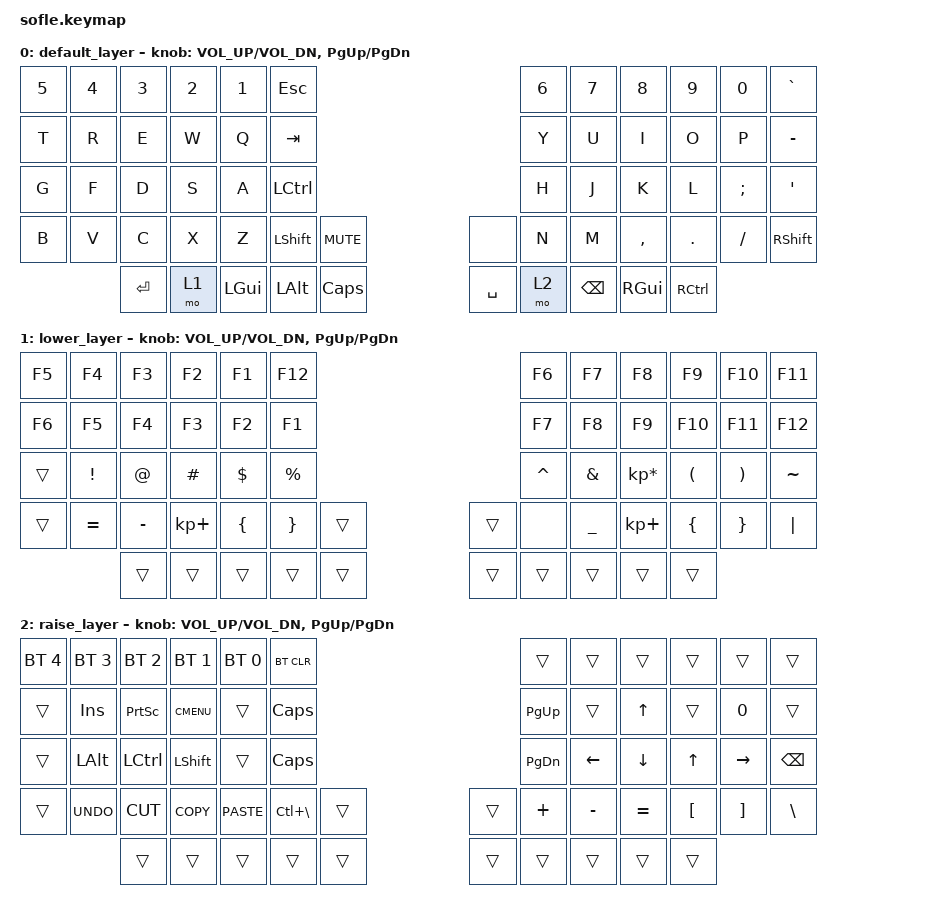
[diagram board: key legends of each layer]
/*
 * Copyright (c) 2020 The ZMK Contributors
 *
 * SPDX-License-Identifier: MIT
 */

#include <behaviors.dtsi>
#include <dt-bindings/zmk/keys.h>
#include <dt-bindings/zmk/bt.h>

/ {
    keymap {
        compatible = "zmk,keymap";

        default_layer {
// ------------------------------------------------------------------------------------------------------------
// |  `    |  1  |  2  |  3   |  4   |  5   |                   |  6   |  7    |  8    |  9   |   0   |       |
// |  ESC  |  Q  |  W  |  E   |  R   |  T   |                   |  Y   |  U    |  I    |  O   |   P   | BKSPC |
// |  TAB  |  A  |  S  |  D   |  F   |  G   |                   |  H   |  J    |  K    |  L   |   ;   |   '   |
// | SHIFT |  Z  |  X  |  C   |  V   |  B   |  MUTE  |  |       |  N   |  M    |  ,    |  .   |   /   | SHIFT |
//               | GUI | ALT  | CTRL | LOWER|  ENTER |  | SPACE | RAISE| CTRL  | ALT   | GUI  |
            bindings = <
&kp N5    &kp N4 &kp N3    &kp N2   &kp N1    &kp ESC                                           &kp N6 &kp N7    &kp N8    &kp N9   &kp N0   &kp GRAVE
&kp T     &kp R  &kp E     &kp W    &kp Q     &kp TAB                                           &kp Y  &kp U     &kp I     &kp O    &kp P    &kp MINUS
&kp G     &kp F  &kp D     &kp S    &kp A     &kp LCTRL                                         &kp H  &kp J     &kp K     &kp L    &kp SEMI &kp SQT
&kp B     &kp V  &kp C     &kp X    &kp Z     &kp LSHFT  &kp C_MUTE                 &none       &kp N  &kp M     &kp COMMA &kp DOT  &kp FSLH &kp RSHFT
                 &kp RET   &mo 1    &kp LGUI  &kp LALT   &kp CAPS                   &kp SPACE   &mo 2  &kp BSPC  &kp RGUI  &kp RCTRL
            >;

            sensor-bindings = <&inc_dec_kp C_VOL_UP C_VOL_DN &inc_dec_kp PG_UP PG_DN>;
        };

        lower_layer {
// TODO: Some binds are waiting for shifted keycode support.
// ------------------------------------------------------------------------------------------------------------
// |       |  F1 |  F2 |  F3  |  F4  |  F5  |                   |  F6  |  F7   |  F8   |  F9  |  F10  |  F11  |
// | `     |   1 |   2 |   3  |   4  |   5  |                   |   6  |   7   |   8   |   9  |    0  |  F12  |
// |       |  !  |  @  |  #   |  $   |  %   |                   |  ^   |  &    |  *    |  (   |   )   |   |   |
// |       |  =  |  -  |  +   |  {   |  }   |        |  |       |  [   |  ]    |  ;    |  :   |   \   |       |
//               |     |      |      |      |        |  |       |      |       |       |      |
            bindings = <
&kp F5    &kp F4    &kp F3    &kp F2      &kp F1    &kp F12                           &kp F6    &kp F7    &kp F8          &kp F9    &kp F10   &kp F11
&kp F6    &kp F5    &kp F4    &kp F3      &kp F2    &kp F1                            &kp F7    &kp F8    &kp F9          &kp F10   &kp F11   &kp F12
&trans    &kp EXCL  &kp AT    &kp HASH    &kp DLLR  &kp PRCNT                         &kp CARET &kp AMPS  &kp KP_MULTIPLY &kp LPAR  &kp RPAR  &kp TILDE
&trans    &kp EQUAL &kp MINUS &kp KP_PLUS &kp LBRC  &kp RBRC  &trans           &trans &none     &kp UNDER &kp KP_PLUS     &kp LBRC  &kp RBRC  &kp PIPE
                    &trans    &trans      &trans    &trans    &trans           &trans &trans    &trans    &trans          &trans
            >;

            sensor-bindings = <&inc_dec_kp C_VOL_UP C_VOL_DN &inc_dec_kp PG_UP PG_DN>;
        };

        raise_layer {
// ------------------------------------------------------------------------------------------------------------
// |BTCLR| BT1  | BT2  |  BT3  |  BT4  |  BT5 |                |      |      |       |      |       |       |
// |     | INS  | PSCR | GUI   |       |      |                | PGUP |      |   ^   |      |       |       |
// |     | ALT  | CTRL | SHIFT |       | CAPS |                | PGDN |   <- |   v   |  ->  |  DEL  | BKSPC |
// |     | UNDO | CUT  | COPY  | PASTE |      |      |  |      |      |      |       |      |       |       |
//              |      |       |       |      |      |  |      |      |      |       |      |
            bindings = <
&bt BT_SEL 4 &bt BT_SEL 3 &bt BT_SEL 2 &bt BT_SEL 1 &bt BT_SEL 0 &bt BT_CLR                       &trans      &trans    &trans         &trans      &trans    &trans
&trans     &kp INS      &kp PSCRN    &kp K_CMENU  &trans       &kp CAPS                           &kp PG_UP   &trans    &kp UP         &trans      &kp N0    &trans
&trans     &kp LALT     &kp LCTRL    &kp LSHFT    &trans       &kp CAPS                           &kp PG_DN   &kp LEFT  &kp DOWN       &kp UP      &kp RIGHT &kp BSPC
&trans     &kp K_UNDO   &kp K_CUT    &kp K_COPY   &kp K_PASTE  &kp LC(BSLH)  &trans       &trans  &kp PLUS    &kp MINUS &kp EQUAL      &kp LBKT    &kp RBKT  &kp BSLH
                        &trans       &trans       &trans       &trans        &trans       &trans  &trans      &trans    &trans         &trans
            >;

            sensor-bindings = <&inc_dec_kp C_VOL_UP C_VOL_DN &inc_dec_kp PG_UP PG_DN>;
        };
    };
};
